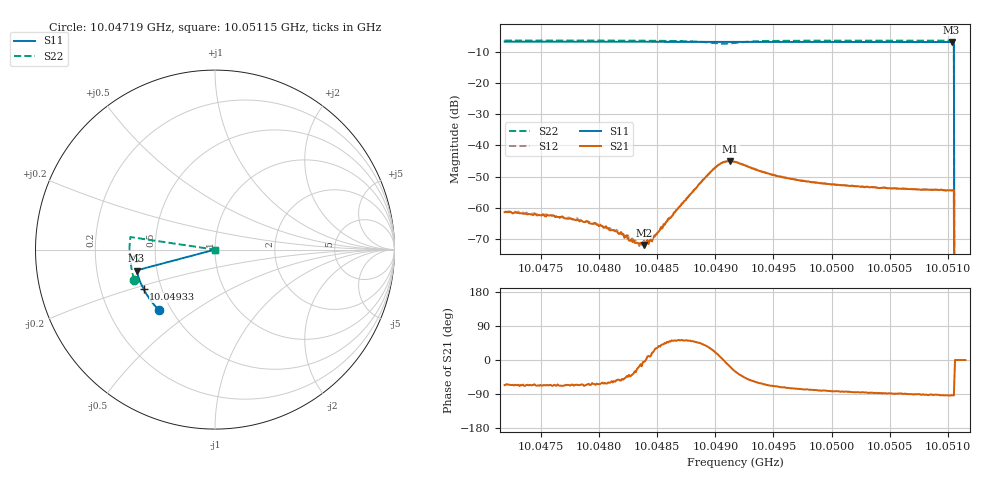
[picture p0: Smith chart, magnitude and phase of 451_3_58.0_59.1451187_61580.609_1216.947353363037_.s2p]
#  HZ  S  RI  R  50.00
! Rohde & Schwarz Vector Network Analyzer
! Rohde-Schwarz,ZNB20-2Port,1311601062101988,3.16
! Created: UTC 3/21/2024, 1:10:28 AM
! freq[Hz]  re:S11  im:S11  re:S21  im:S21  re:S12  im:S12  re:S22  im:S22
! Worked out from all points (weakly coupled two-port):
!   401 points, 10.04719 GHz to 10.05115 GHz, reference 50 ohm
!   highest |S21| = -45.03 dB at 10.04913 GHz (marker M1); lowest = -71.9 dB at 10.04839 GHz (marker M2)
!   lowest |S11| = -6.9 dB at 10.05103 GHz (marker M3), VSWR 2.65, Z = 19.1 - j5.64 ohm
!   |S11| at or under -10 dB: 10.05105 GHz to end of sweep
!   |S22| runs from - to -6.4 dB; largest |S21 - S12| = 0.00042
!   S11 on the Smith chart (normalised r, x): 10.04719 GHz: 0.43, -0.36; 10.04933 GHz: 0.40, -0.22; 10.05115 GHz: 1.00, +0.00
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1.0047187e10  -0.3144 -0.3344  0.000343 -0.000781  0.000393 -0.000759  -0.4487 -0.169
1.0047593e10  -0.3328 -0.3147  0.00028 -0.000694  0.000348 -0.000663  -0.4571 -0.1425
1.0047851e10  -0.3438 -0.3019  0.00027 -0.000557  0.000308 -0.000556  -0.4614 -0.1248
1.0048039e10  -0.3517 -0.2923  0.000223 -0.000428  0.000251 -0.000408  -0.4641 -0.1117
1.0048128e10  -0.3554 -0.2876  0.000249 -0.000364  0.000255 -0.000339  -0.4652 -0.1052
1.0048336e10  -0.3634 -0.2766  0.000253 -9.24e-05  0.000269 -9.56e-05  -0.4672 -0.0895
1.0048386e10  -0.3653 -0.2739  0.000254 -2.18e-05  0.000301 -2.34e-05  -0.4675 -0.0856
1.0048416e10  -0.3664 -0.2723  0.000302 4.87e-05  0.000265 4.81e-05  -0.4676 -0.0832
1.0048445e10  -0.3675 -0.2708  0.000308 6.05e-05  0.000315 8.24e-05  -0.4678 -0.0806
1.0048515e10  -0.37 -0.267  0.000335 0.000252  0.000336 0.000265  -0.4675 -0.0747
1.0048733e10  -0.3779 -0.2548  0.000808 0.00102  0.000755 0.00106  -0.4641 -0.0537
1.0048981e10  -0.3861 -0.2408  0.00374 0.00175  0.00365 0.00199  -0.4362 -0.0346
1.004905e10  -0.3882 -0.2371  0.00517 0.00055  0.00511 0.000866  -0.4246 -0.044
1.0049129e10  -0.3908 -0.2329  0.00531 -0.00179  0.00545 -0.00146  -0.4267 -0.0616
1.0049169e10  -0.3921 -0.2305  0.00471 -0.00271  0.00494 -0.00238  -0.4334 -0.0669
1.0049327e10  -0.3972 -0.2215  0.00237 -0.00354  0.0026 -0.00344  -0.4583 -0.0613
1.0049545e10  -0.4038 -0.2087  0.00107 -0.003  0.00127 -0.00295  -0.4704 -0.0404
1.0049833e10  -0.4117 -0.1916  0.000496 -0.00252  0.000652 -0.00252  -0.4751 -0.0162
1.0050497e10  -0.4272 -0.1508  7.7e-05 -0.00208  0.000172 -0.00207  -0.4752 0.0324
1.0051032e10  -0.4368 -0.1172  -9.53e-05 -0.0019  -1.15e-05 -0.00192  -0.4712 0.0687
1.0051081e10  0 0  0 0  0 0  0 0
1.0051151e10  0 0  0 0  0 0  0 0
